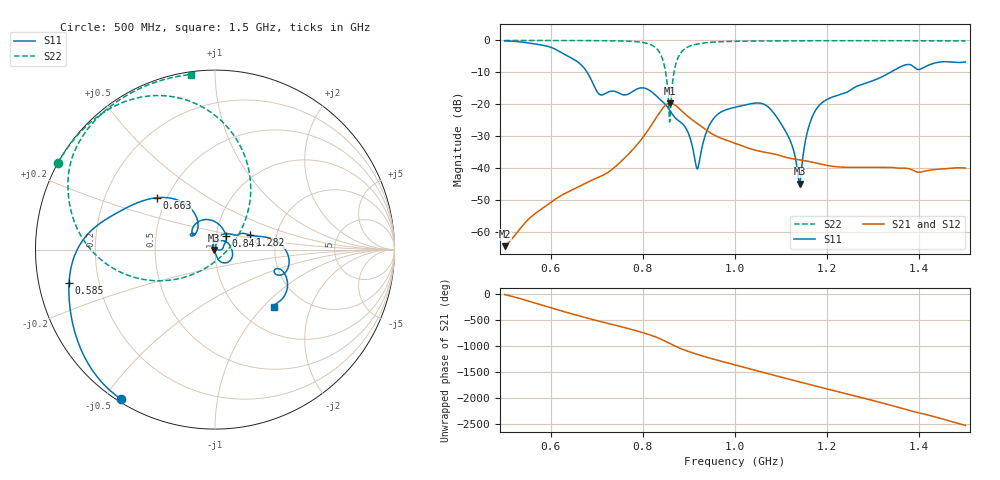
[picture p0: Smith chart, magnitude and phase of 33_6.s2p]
! TOUCHSTONE file generated by CST MICROWAVE STUDIO
! Date and time: Sat Oct 24 11:48:46 2020
! Project name: Scenario_1_Circular_Tissue_out_of_Line.cst
! Parameters = {dy1=208.912; L_HA=400; MT=2.54; Rad_Dielectric=30; Rad_Lower=7.3; Rad_Upper=30; a_HA=580; a_WG=246; b_HA=500; b_WG=121; c_HA=0; c_WG=187; d_feed=85; dx1=1039; h_feed=15; h_lower=18; h_upper=40}
! Header version: 2018
! Port assignment regex: !\s*Touchstone port\s*([0-9]+)\s*=\s*(CST MWS port|CST DS port)\s*([0-9]+|Zmin|Zmax)\s*\(\"(.*)\"\)(\s*mode\s*([0-9]+))?.*
! Touchstone port assignment:
! Touchstone port 1 = CST MWS port 1 ("")
! Touchstone port 2 = CST MWS port 2 ("")
# GHz S DB R 50
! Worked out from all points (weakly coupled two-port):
!   1001 points, 500 MHz to 1.5 GHz, reference 50 ohm
!   highest |S21| = -19.65 dB at 859 MHz (marker M1); lowest = -64.4 dB at 500 MHz (marker M2)
!   lowest |S11| = -44.9 dB at 1.14 GHz (marker M3), VSWR 1.01, Z = 49.5 - j0.163 ohm
!   |S11| at or under -10 dB: 679.3 MHz to 1.337 GHz (657.9 MHz wide, 65.3 % of centre)
!   |S22| runs from -25.5 to 0.0 dB; largest |S21 - S12| = 0.00036
!   S11 on the Smith chart (normalised r, x): 500 MHz: 0.01, -0.55; 585 MHz: 0.09, -0.11; 663 MHz: 0.44, +0.31; 849 MHz: 1.12, +0.18; 1.282 GHz: 1.46, +0.25; 1.5 GHz: 1.42, -1.16
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0.5  -0.15 -122.2  -64.41 -6.8  -64.41 -7.2  -0.01 151.1
0.585  -1.57 -167.0  -52.28 139.9  -52.27 139.1  -0.02 145.3
0.663  -7.23 138.4  -45.64 -59.5  -45.63 -59.5  -0.04 138.8
0.667  -7.76 134.8  -45.35 -69.1  -45.35 -69.1  -0.04 138.4
0.708  -17.04 138.4  -42.57 -166.1  -42.55 -166.0  -0.07 133.9
0.788  -15.16 134.7  -32.56 12.3  -32.61 12.3  -0.43 117.7
0.834  -17.99 71.1  -23.09 -122.3  -23.06 -122.4  -3.28 84.2
0.849  -20.08 51.9  -20.30 175.8  -20.32 175.8  -9.56 54.2
0.859  -22.02 39.3  -19.65 130.0  -19.66 130.1  -24.88 -73.8
0.877  -25.09 26.9  -21.09 54.0  -21.09 54.0  -5.21 -167.2
0.898  -28.75 0.8  -23.84 -16.4  -23.82 -16.4  -2.02 169.6
0.918  -40.22 34.3  -26.00 -75.0  -26.00 -74.9  -1.14 158.8
0.95  -25.16 60.6  -29.24 -159.3  -29.24 -158.9  -0.56 149.1
1  -20.94 7.5  -32.18 80.4  -32.18 80.1  -0.27 140.3
1.078  -21.68 -60.8  -35.33 -101.0  -35.35 -101.2  -0.14 131.7
1.119  -31.10 -79.1  -36.88 164.0  -36.82 164.2  -0.11 128.1
1.14  -44.86 -163.2  -37.36 116.7  -37.42 116.9  -0.10 126.4
1.167  -24.12 84.1  -38.09 54.2  -38.01 53.9  -0.10 124.2
1.195  -18.86 50.9  -39.00 -9.2  -38.95 -8.8  -0.09 122.1
1.282  -13.47 22.2  -39.70 157.7  -39.77 158.3  -0.08 115.5
1.334  -10.26 12.3  -39.70 37.1  -39.82 36.2  -0.09 111.5
1.5  -6.75 -44.5  -39.97 -0.7  -40.00 -0.4  -0.13 97.9
